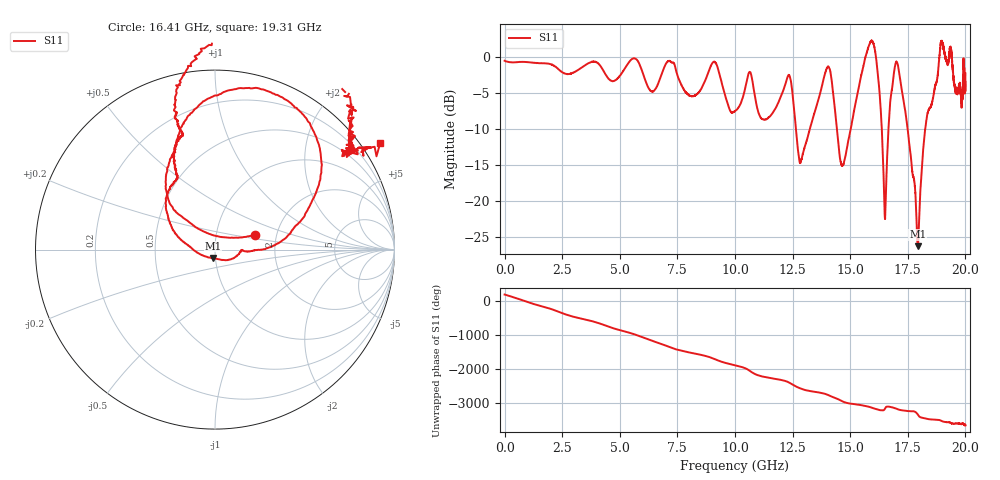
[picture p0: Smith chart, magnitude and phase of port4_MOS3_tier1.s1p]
! Created with skrf 1.8.0 (http://scikit-rf.org).
# GHz S RI R 50.0
!freq ReS11 ImS11
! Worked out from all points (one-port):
!   10001 points, 1 MHz to 20 GHz, reference 50 ohm
!   lowest |S11| = -26.3 dB at 17.94 GHz (marker M1), VSWR 1.10, Z = 48.7 - j4.62 ohm
!   |S11| at or under -10 dB: 12.65 GHz to 13.24 GHz (598.5 MHz wide, 4.62 % of centre); 14.42 GHz to 15.02 GHz (600.5 MHz wide, 4.08 % of centre); 17.49 GHz to 18.26 GHz (763.7 MHz wide, 4.27 % of centre) (the widest 3 of 4)
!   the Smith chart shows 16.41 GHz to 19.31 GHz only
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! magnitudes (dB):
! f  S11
! 1 MHz  -0.5
! 2.501 GHz  -2.1
! 5.001 GHz  -2.6
! 5.613 GHz  -0.2
! 7.501 GHz  -2.5
! 8.223 GHz  -5.4
! 9.123 GHz  -0.7
! 10 GHz  -7.5
! 10.63 GHz  -2.0
! 11.2 GHz  -8.6
! 12.31 GHz  -2.6
! 12.5 GHz  -5.1
! 12.84 GHz  -14.6
! 14.02 GHz  -1.3
! 14.62 GHz  -14.9
! 15 GHz  -10.3
! 15.92 GHz  2.3
! 16.22 GHz  -2.8
! 16.5 GHz  -22.4
! 16.76 GHz  -5.6
! 16.98 GHz  -0.8
! 17.5 GHz  -10.2
! 17.94 GHz  -26.3
! 18.28 GHz  -9.4
! 18.95 GHz  2.1
! 19.36 GHz  1.1
! 19.61 GHz  -4.7
! 20 GHz  -2.3
